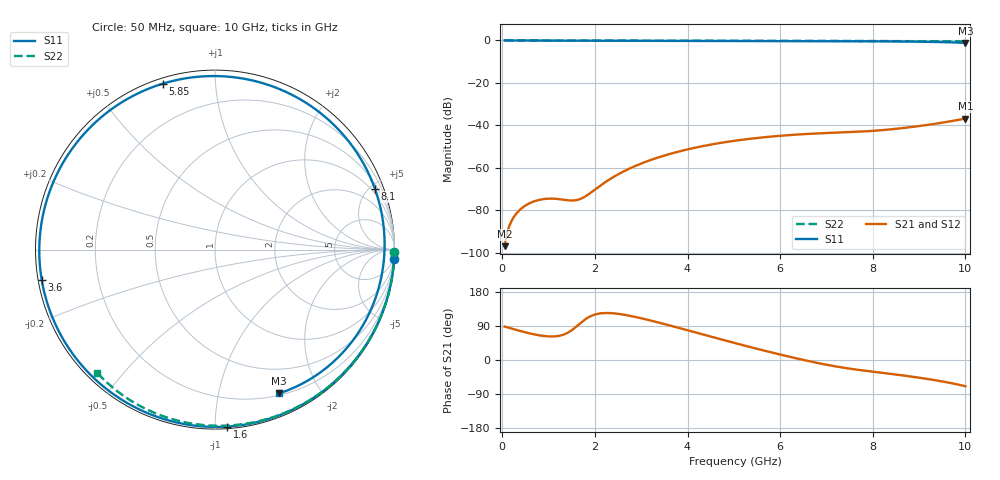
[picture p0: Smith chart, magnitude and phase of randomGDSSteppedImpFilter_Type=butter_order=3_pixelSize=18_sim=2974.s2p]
! freq	dB(S11)	phase(S11)	dB(S12)	phase(S12)
!  dB(S21)	phase(S21)	dB(S22)	phase(S22)
!S-par simulation data
#  GHz  S  DB  R 50
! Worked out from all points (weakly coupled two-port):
!   200 points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, 50 MHz to 10 GHz, reference 50 ohm
!   highest |S21| = -36.79 dB at 10 GHz (marker M1); lowest = -96.9 dB at 50 MHz (marker M2)
!   lowest |S11| = -1.1 dB at 10 GHz (marker M3), VSWR 15.29, Z = 10.9 - j76 ohm
!   |S11| at or under -10 dB: nowhere
!   |S22| runs from -0.5 to 0.0 dB; largest |S21 - S12| = 0
!   S11 on the Smith chart (normalised r, x): 50 MHz: 0, -40; 1.6 GHz: 0.01, -1.07; 3.6 GHz: 0.01, -0.09; 5.85 GHz: 0.02, +0.73; 8.1 GHz: 0.73, +5.37; 10 GHz: 0.22, -1.52
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0.05  -0.00 -2.9  -96.91 88.2  -96.91 88.2  -0.00 -0.8
0.35  -0.03 -19.9  -80.42 77.8  -80.42 77.8  -0.01 -5.4
0.6  -0.05 -33.9  -76.57 70.0  -76.57 70.0  -0.01 -9.2
0.9  -0.06 -50.3  -74.71 63.3  -74.71 63.3  -0.02 -13.7
1.25  -0.08 -68.6  -74.81 64.4  -74.81 64.4  -0.02 -19.0
1.6  -0.10 -86.1  -75.22 88.2  -75.22 88.2  -0.03 -24.3
1.75  -0.11 -93.2  -74.00 103.6  -74.00 103.6  -0.03 -26.5
2.15  -0.12 -111.5  -67.88 123.4  -67.88 123.4  -0.04 -32.5
2.6  -0.14 -130.9  -61.93 120.0  -61.93 120.0  -0.05 -39.0
3.4  -0.17 -162.6  -54.88 98.1  -54.88 98.1  -0.07 -50.5
3.6  -0.17 -170.2  -53.57 91.7  -53.57 91.7  -0.07 -53.3
4.3  -0.20 163.9  -49.90 68.5  -49.90 68.5  -0.09 -63.0
5.05  -0.23 136.7  -47.16 43.8  -47.16 43.8  -0.11 -73.1
5.85  -0.27 107.4  -45.19 18.9  -45.19 18.9  -0.14 -83.5
6.7  -0.31 75.4  -43.91 -5.0  -43.91 -5.0  -0.18 -94.3
7.35  -0.35 50.3  -43.33 -20.0  -43.33 -20.0  -0.22 -102.3
8.1  -0.42 20.7  -42.43 -32.3  -42.43 -32.3  -0.27 -111.3
8.35  -0.45 10.7  -41.95 -36.0  -41.95 -36.0  -0.29 -114.3
8.8  -0.54 -7.9  -40.88 -43.2  -40.88 -43.2  -0.33 -119.6
9.2  -0.65 -25.2  -39.72 -50.4  -39.72 -50.4  -0.37 -124.3
9.6  -0.84 -44.1  -38.37 -58.8  -38.37 -58.8  -0.41 -129.0
10  -1.14 -65.9  -36.79 -69.2  -36.79 -69.2  -0.45 -133.8
